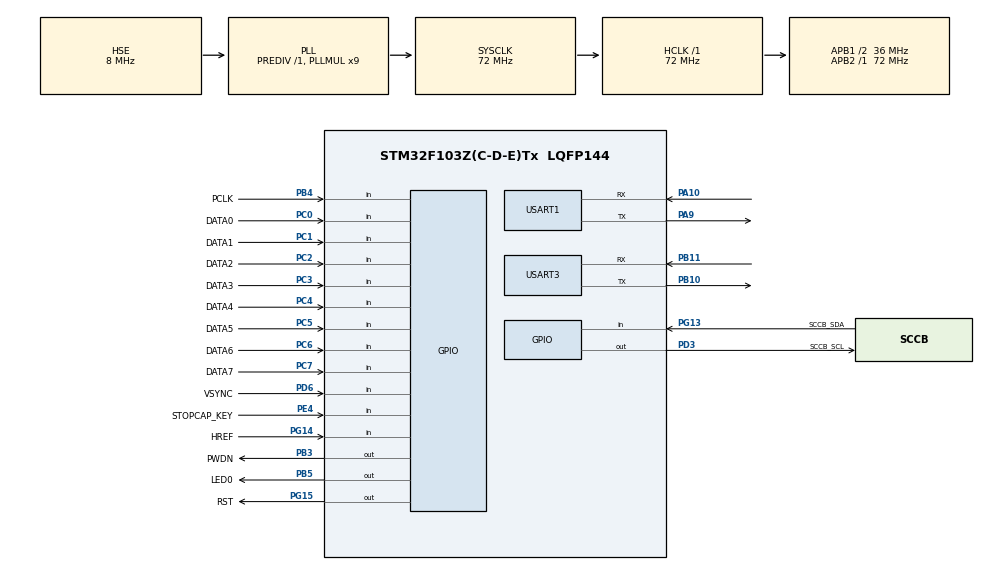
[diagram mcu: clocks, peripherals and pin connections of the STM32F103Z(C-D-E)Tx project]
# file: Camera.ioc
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Dma.Request0=USART3_TX
Dma.USART3_TX.0.Direction=DMA_MEMORY_TO_PERIPH
Dma.USART3_TX.0.Instance=DMA1_Channel2
Dma.USART3_TX.0.MemDataAlignment=DMA_MDATAALIGN_BYTE
Dma.USART3_TX.0.MemInc=DMA_MINC_ENABLE
Dma.USART3_TX.0.Mode=DMA_CIRCULAR
Dma.USART3_TX.0.PeriphDataAlignment=DMA_PDATAALIGN_BYTE
Dma.USART3_TX.0.PeriphInc=DMA_PINC_DISABLE
Dma.USART3_TX.0.Priority=DMA_PRIORITY_LOW
Mcu.Family=STM32F1
Mcu.Name=STM32F103Z(C-D-E)Tx
Mcu.Package=LQFP144
NVIC.DMA1_Channel2_IRQn=true\:0\:0\:false\:false\:true\:false\:true\:true
NVIC.PriorityGroup=NVIC_PRIORITYGROUP_4
OSC_IN.Mode=HSE-External-Oscillator
OSC_IN.Signal=RCC_OSC_IN
OSC_OUT.Mode=HSE-External-Oscillator
OSC_OUT.Signal=RCC_OSC_OUT
PA10.Mode=Asynchronous
PA10.Signal=USART1_RX
PA13.Mode=Serial_Wire
PA13.Signal=SYS_JTMS-SWDIO
PA14.Mode=Serial_Wire
PA14.Signal=SYS_JTCK-SWCLK
PA9.Mode=Asynchronous
PA9.Signal=USART1_TX
PB10.Mode=Asynchronous
PB10.Signal=USART3_TX
PB11.Mode=Asynchronous
PB11.Signal=USART3_RX
PB3.GPIO_Label=PWDN
PB3.GPIO_Speed=GPIO_SPEED_FREQ_MEDIUM
PB3.PinState=GPIO_PIN_SET
PB3.Signal=GPIO_Output
PB4.GPIO_Label=PCLK
PB4.GPIO_PuPd=GPIO_PULLUP
PB4.Signal=GPIO_Input
PB5.GPIO_Label=LED0
PB5.GPIO_Speed=GPIO_SPEED_FREQ_MEDIUM
PB5.Signal=GPIO_Output
PC0.GPIO_Label=DATA0
PC0.GPIO_PuPd=GPIO_PULLUP
PC0.Signal=GPIO_Input
PC1.GPIO_Label=DATA1
PC1.GPIO_PuPd=GPIO_PULLUP
PC1.Signal=GPIO_Input
PC2.GPIO_Label=DATA2
PC2.GPIO_PuPd=GPIO_PULLUP
PC2.Signal=GPIO_Input
PC3.GPIO_Label=DATA3
PC3.GPIO_PuPd=GPIO_PULLUP
PC3.Signal=GPIO_Input
PC4.GPIO_Label=DATA4
PC4.GPIO_PuPd=GPIO_PULLUP
PC4.Signal=GPIO_Input
PC5.GPIO_Label=DATA5
PC5.GPIO_PuPd=GPIO_PULLUP
PC5.Signal=GPIO_Input
PC6.GPIO_Label=DATA6
PC6.GPIO_PuPd=GPIO_PULLUP
PC6.Signal=GPIO_Input
PC7.GPIO_Label=DATA7
PC7.GPIO_PuPd=GPIO_PULLUP
PC7.Signal=GPIO_Input
PD3.GPIO_Label=SCCB_SCL
PD3.GPIO_Speed=GPIO_SPEED_FREQ_MEDIUM
PD3.PinState=GPIO_PIN_SET
PD3.Signal=GPIO_Output
PD6.GPIO_Label=VSYNC
PD6.GPIO_PuPd=GPIO_PULLUP
PD6.Signal=GPIO_Input
PE4.GPIO_Label=STOPCAP_KEY
PE4.GPIO_PuPd=GPIO_PULLUP
PE4.Signal=GPIO_Input
PG13.GPIO_Label=SCCB_SDA
PG13.GPIO_PuPd=GPIO_PULLUP
PG13.Signal=GPIO_Input
PG14.GPIO_Label=HREF
PG14.GPIO_PuPd=GPIO_PULLUP
PG14.Signal=GPIO_Input
PG15.GPIO_Label=RST
PG15.GPIO_Speed=GPIO_SPEED_FREQ_MEDIUM
PG15.PinState=GPIO_PIN_SET
PG15.Signal=GPIO_Output
ProjectManager.HeapSize=0x7000
ProjectManager.StackSize=0x900
ProjectManager.TargetToolchain=MDK-ARM V5.32
RCC.AHBFreq_Value=72000000
RCC.APB1CLKDivider=RCC_HCLK_DIV2
RCC.APB1Freq_Value=36000000
RCC.APB1TimFreq_Value=72000000
RCC.APB2Freq_Value=72000000
RCC.APB2TimFreq_Value=72000000
RCC.HCLKFreq_Value=72000000
RCC.PLLMUL=RCC_PLL_MUL9
RCC.PLLSourceVirtual=RCC_PLLSOURCE_HSE
RCC.SYSCLKFreq_VALUE=72000000
RCC.SYSCLKSource=RCC_SYSCLKSOURCE_PLLCLK
RCC.USBFreq_Value=72000000
TIM6.Period=1
TIM6.Prescaler=71
USART1.VirtualMode=VM_ASYNC
USART3.VirtualMode=VM_ASYNC
VP_TIM6_VS_ClockSourceINT.Mode=Enable_Timer
board=custom

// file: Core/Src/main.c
/* USER CODE BEGIN Header */
/**
 ******************************************************************************
 * @file           : main.c
 * @brief          : Main program body
 ******************************************************************************
 * @attention
 *
 * Copyright (c) 2022 STMicroelectronics.
 * All rights reserved.
 *
 * This software is licensed under terms that can be found in the LICENSE file
 * in the root directory of this software component.
 * If no LICENSE file comes with this software, it is provided AS-IS.
 *
 ******************************************************************************
 */
/* USER CODE END Header */
#include "main.h"
#include "dma.h"
#include "tim.h"
#include "usart.h"
#include "gpio.h"

/* USER CODE BEGIN Includes */
#include "ov2640.h"
#include "sccb.h"
#include <stdlib.h>
/* USER CODE END Includes */

/* USER CODE BEGIN PV */
uint8_t *imgbuf;
const uint16_t jpeg_img_size_tbl[][2] =
	{
		176, 144,	// QCIF
		160, 120,	// QQVGA
		352, 288,	// CIF
		320, 240,	// QVGA
		640, 480,	// VGA
		800, 600,	// SVGA
		1024, 768,	// XGA
		1280, 1024, // SXGA
		1600, 1200, // UXGA
};
#define LEN 13 * 1024
// FATFS fs;
// FIL fil;
/* USER CODE END PV */

void SystemClock_Config(void);

/* USER CODE BEGIN 0 */

/*const uint8_t Days[12] = {31, 28, 31, 30, 31, 30, 31, 31, 30, 31, 30, 31};
const uint16_t monDays[12] = {0,31, 59, 90, 120, 151, 181, 212, 243, 273, 304, 334};

uint32_t time2Stamp(RTC_DateTypeDef date, RTC_TimeTypeDef time)
{
	uint32_t result;
	uint16_t Year=date.Year+2000;
	result = (Year - 1970) * 365 * 24 * 3600 + (monDays[date.Month-1] + date.Date - 1) * 24 * 3600 + (time.Hours-8) * 3600 + time.Minutes * 60 + time.Seconds;
	result += (date.Month>2 && (Year % 4 == 0) && (Year % 100 != 0 || Year % 400 == 0))*24*3600;
	Year -= 1970;
	result += (Year/4 - Year/100 + Year/400)*24 * 3600;
	return result;
}*/

/*void InitFatFs(void) {
	int retSD = f_mount(&fs, "0:", 1);
	if(retSD)  {
		printf("mount error: %d \r\n",retSD);
		Error_Handler();
	} else printf("mount success\r\n!\r\n");

}

void WriteFsFile(char *fn, const uint8_t *bytes, int len) {
	uint32_t retlen = 0;
	//////// Escribir
	int retSD = f_open(&fil, fn, FA_CREATE_NEW|FA_WRITE);
	if(retSD == FR_OK) {
		printf("open file success\r\n");
		retSD = f_write(&fil, bytes, len, &retlen);
		if(retSD) printf("write file error code: %d\r\n", retSD);
		else printf("write file success\r\n");
		HAL_Delay(80);
		retSD = f_close(&fil);
		if(retSD) printf("cannot close file stream!\r\n");
	} else {
		printf("open file error code: %d\r\n", retSD);
	}
}*/

void SendJPEG(uint8_t *buf, int siz)
{
	// RTC_DateTypeDef fecha;
	// RTC_TimeTypeDef tiempo;
	// char fn[128];
	// HAL_UART_Transmit_DMA(&huart3, buf, siz);
	HAL_UART_Transmit(&huart3, buf, siz, 5000);
	// HAL_RTC_GetDate(&hrtc, &fecha, RTC_FORMAT_BCD);
	// HAL_RTC_GetTime(&hrtc, &tiempo, RTC_FORMAT_BCD);
	// sprintf(fn, "0:/captura_%d.jpg", time2Stamp(fecha, tiempo));
	// WriteFsFile(fn, buf, siz);
	printf("Transimitted %d bytes\r\n", siz);
}

void KeepCapture(void)
{
	int i = 0, j = 0, ilen = 0;
	if (HAL_GPIO_ReadPin(STOPCAP_KEY_GPIO_Port, STOPCAP_KEY_Pin) == RESET)
	{
		printf("Now stop capture and halt the system!\r\n");
		// f_mount(NULL, "0:", 1);
		Error_Handler();
	}
	// skip initial frames that are not ready
	for (i = 0; i < 3; i++)
	{
		while (OV2640_VSYNC == 1)
			;
		while (OV2640_VSYNC == 0)
			;
	}
	while (OV2640_VSYNC)
	{
		while (OV2640_HREF)
		{
			while (!OV2640_PCLK)
				;
			imgbuf[ilen] = OV2640_DATA;
			while (OV2640_PCLK)
				;
			ilen++;
		}
	}
	for (i = 0; i < ilen; i++)
	{
		if (imgbuf[i] == 0xff && imgbuf[i + 1] == 0xd8)
			break;
	}
	if (i == ilen)
		printf("No valid JPEG header found!\r\n");
	else
	{
		printf("Found valid JPEG header!\r\n");
		for (j = i; j < ilen; j++)
		{
			if (imgbuf[j] == 0xd9 && imgbuf[j - 1] == 0xff)
			{
				printf("Found valid JPEG EOF!\r\n");
				SendJPEG(imgbuf + i, j - i + 1);
				break;
			}
		}
	}
}

/*void TestSDCard(void) {
	HAL_SD_CardCIDTypeDef SDCard_CID;
	HAL_SD_CardInfoTypeDef SDCard_INFO;
	uint64_t CardCap;
	HAL_StatusTypeDef sta;
	sta = HAL_SD_GetCardCID(&hsd,&SDCard_CID);
	if(sta != HAL_OK) printf("Cannot get CID: %d\r\n", sta);
	sta = HAL_SD_GetCardInfo(&hsd, &SDCard_INFO);
	if(sta != HAL_OK) printf("Cannot get SDInfo: %d\r\n", sta);
	switch(SDCard_INFO.CardType)
	{
		case CARD_SDSC:
			if(SDCard_INFO.CardVersion == CARD_V1_X){
				printf("Card Type: SDSC V1\r\n");
			}
			else if(SDCard_INFO.CardVersion == CARD_V2_X){
				printf("Card Type: SDSC V2\r\n");
			}
			break;
		case CARD_SDHC_SDXC:
			printf("Card Type: SDHC\r\n");
			break;
	}

	CardCap = (uint64_t)(SDCard_INFO.LogBlockNbr)*(uint64_t)(SDCard_INFO.LogBlockSize)/1024/1024;
	printf("Card ManufacturerID:%d\r\n",SDCard_CID.ManufacturerID);
	printf("Card RCA:%d\r\n",SDCard_INFO.RelCardAdd);
	printf("LogBlockNbr:%d\r\n",SDCard_INFO.LogBlockNbr);
	printf("LogBlockSize:%d\r\n",SDCard_INFO.LogBlockSize);
	printf("Card Capacity:%d MB\r\n",(uint32_t)CardCap);
	printf("Card BlockSize:%d\r\n",SDCard_INFO.BlockSize);
}*/
/* USER CODE END 0 */

int main(void)
{

	/* MCU Configuration--------------------------------------------------------*/

	/* Reset of all peripherals, Initializes the Flash interface and the Systick. */
	HAL_Init();

	/* Configure the system clock */
	SystemClock_Config();

	/* Initialize all configured peripherals */
	MX_GPIO_Init();
	MX_DMA_Init();
	MX_USART1_UART_Init();
	MX_TIM6_Init();
	MX_USART3_UART_Init();
	/* USER CODE BEGIN 2 */
	// Disable SWD And JTAG
	/*__HAL_RCC_AFIO_CLK_ENABLE();
  __HAL_RCC_GPIOB_CLK_ENABLE();
	__HAL_RCC_GPIOF_CLK_ENABLE();
	__HAL_AFIO_REMAP_SWJ_DISABLE();
	__HAL_AFIO_REMAP_SWJ_NOJTAG();*/
	imgbuf = malloc(LEN);
	if (imgbuf == NULL)
	{
		printf("ALLOC FAILED!\r\n");
		Error_Handler();
	}
	while (OV2640_Init())
	{
	}
	HAL_Delay(1000);
	SCCB_WR_Reg(0XFF, 0X00);
	SCCB_WR_Reg(0XD3, 15); // PCLK division
	SCCB_WR_Reg(0XFF, 0X01);
	SCCB_WR_Reg(0X11, 3); // CLK division
	OV2640_JPEG_Mode();
	OV2640_OutSize_Set(jpeg_img_size_tbl[3][0], jpeg_img_size_tbl[3][1]); // 320*240 try
	printf("Registered!\r\n");
	// TestSDCard();
	// InitFatFs();
	/* USER CODE END 2 */

	/* Infinite loop */
	while (1)
	{

		/* USER CODE BEGIN 3 */
		KeepCapture();
	}
	/* USER CODE END 3 */
}

void SystemClock_Config(void)
{
	RCC_OscInitTypeDef RCC_OscInitStruct = {0};
	RCC_ClkInitTypeDef RCC_ClkInitStruct = {0};

	/** Initializes the RCC Oscillators according to the specified parameters
	 * in the RCC_OscInitTypeDef structure.
	 */
	RCC_OscInitStruct.OscillatorType = RCC_OSCILLATORTYPE_HSE;
	RCC_OscInitStruct.HSEState = RCC_HSE_ON;
	RCC_OscInitStruct.HSEPredivValue = RCC_HSE_PREDIV_DIV1;
	RCC_OscInitStruct.HSIState = RCC_HSI_ON;
	RCC_OscInitStruct.PLL.PLLState = RCC_PLL_ON;
	RCC_OscInitStruct.PLL.PLLSource = RCC_PLLSOURCE_HSE;
	RCC_OscInitStruct.PLL.PLLMUL = RCC_PLL_MUL9;
	if (HAL_RCC_OscConfig(&RCC_OscInitStruct) != HAL_OK)
	{
		Error_Handler();
	}

	/** Initializes the CPU, AHB and APB buses clocks
	 */
	RCC_ClkInitStruct.ClockType = RCC_CLOCKTYPE_HCLK | RCC_CLOCKTYPE_SYSCLK | RCC_CLOCKTYPE_PCLK1 | RCC_CLOCKTYPE_PCLK2;
	RCC_ClkInitStruct.SYSCLKSource = RCC_SYSCLKSOURCE_PLLCLK;
	RCC_ClkInitStruct.AHBCLKDivider = RCC_SYSCLK_DIV1;
	RCC_ClkInitStruct.APB1CLKDivider = RCC_HCLK_DIV2;
	RCC_ClkInitStruct.APB2CLKDivider = RCC_HCLK_DIV1;

	if (HAL_RCC_ClockConfig(&RCC_ClkInitStruct, FLASH_LATENCY_2) != HAL_OK)
	{
		Error_Handler();
	}
}

void Error_Handler(void)
{
	__disable_irq();
	while (1)
	{
	}
}
